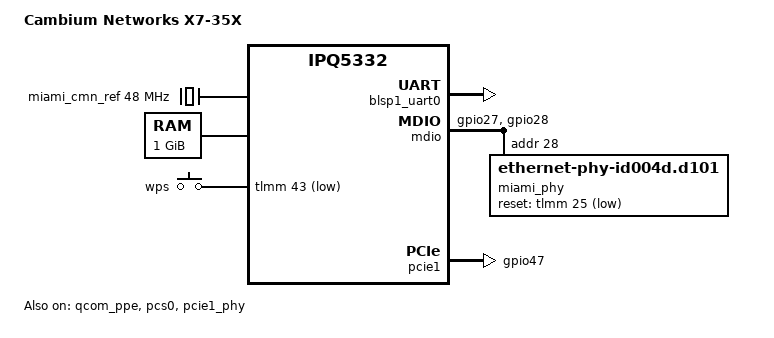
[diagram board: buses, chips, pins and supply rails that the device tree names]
// SPDX-License-Identifier: (GPL-2.0-only OR BSD-2-Clause)
/dts-v1/;

/*
 * Cambium Networks X7-35X (Miami family), recovery (RAM) tree: every flash
 * partition is read-only. The persistent trees include this one and unlock
 * only their own firmware bank(s) and the U-Boot environment.
 */

/* The extra firmware reservation of the OEM device tree. */
/memreserve/ 0x484ef000 0xe000;

#include <arm64/qcom/ipq5332.dtsi>
#include <dt-bindings/gpio/gpio.h>
#include <dt-bindings/input/input.h>
#include <dt-bindings/clock/qcom,ipq5332-nsscc.h>
#include <dt-bindings/clock/qcom,ipq5332-cmn-pll.h>
#include "ipq5332-miami-wifi.dtsi"
#include "ipq5332-miami-flash.dtsi"

/ {
	model = "Cambium Networks X7-35X";
	compatible = "cambiumnetworks,x7-35x", "qcom,ipq5332";

	cambium-platform {
		compatible = "cambium-platform";
		board-sku = <44>;
	};

	aliases {
		serial0 = &blsp1_uart0;
		ethernet0 = &miami_lan;
	};

	chosen {
		stdout-path = "serial0:115200n8";
		bootargs = "console=ttyMSM0,115200n8";
	};

	clocks {
		miami_cmn_ref: miami-cmn-ref-clk {
			compatible = "fixed-clock";
			clock-frequency = <48000000>;
			#clock-cells = <0>;
		};
	};

	soc@0 {
		miami_cmn_pll: clock-controller@9b000 {
			compatible = "qcom,ipq5332-cmn-pll";
			reg = <0x9b000 0x800>;
			clocks = <&miami_cmn_ref>,
				 <&gcc GCC_CMN_12GPLL_AHB_CLK>,
				 <&gcc GCC_CMN_12GPLL_SYS_CLK>;
			clock-names = "ref", "ahb", "sys";
			#clock-cells = <1>;
			assigned-clocks = <&miami_cmn_pll IPQ5332_CMN_PLL_CLK>;
			assigned-clock-rates-u64 = /bits/ 64 <6000000000>;
		};
	};

	memory@40000000 {
		reg = <0 0x40000000 0 0x40000000>;
	};

	/* ipq5332.dtsi already reserves the bootloader, SBL, TZ and SMEM. */
	reserved-memory {
		tzapp@49b00000 {
			reg = <0 0x49b00000 0 0x600000>;
			no-map;
		};
		wcss@4a900000 {
			reg = <0 0x4a900000 0 0x2300000>;
			no-map;
		};
		miami_m3_dump: m3-dump@4cc00000 {
			reg = <0 0x4cc00000 0 0x100000>;
			no-map;
		};
		q6-etr-dump@4cd00000 {
			reg = <0 0x4cd00000 0 0x100000>;
			no-map;
		};
		miami_q6_caldb: q6-caldb@4ce00000 {
			reg = <0 0x4ce00000 0 0x500000>;
			no-map;
		};
		miami_mlo_mem: mlo@4db00000 {
			reg = <0 0x4db00000 0 0x1100000>;
			no-map;
		};
		qcn9224@51e00000 {
			reg = <0 0x51e00000 0 0x3200000>;
			no-map;
		};
		/* The OEM firmware allocates this pool at the top of 1 GiB. */
		oem-dma@7f700000 {
			reg = <0 0x7f700000 0 0x900000>;
			no-map;
		};
	};

	keys {
		compatible = "gpio-keys";
		pinctrl-0 = <&miami_button_pins>;
		pinctrl-names = "default";
		button-wps {
			label = "wps";
			linux,code = <KEY_WPS_BUTTON>;
			gpios = <&tlmm 43 GPIO_ACTIVE_LOW>;
			debounce-interval = <60>;
		};
	};
};

&blsp1_uart0 {
	pinctrl-0 = <&serial_0_pins>;
	pinctrl-names = "default";
	status = "okay";
};

&sleep_clk {
	clock-frequency = <32000>;
};

&xo_board {
	clock-frequency = <24000000>;
};

&tlmm {
	miami_mdio_pins: miami-mdio-state {
		mdc {
			pins = "gpio27";
			function = "mdc1";
			drive-strength = <8>;
			bias-disable;
		};
		mdio {
			pins = "gpio28";
			function = "mdio1";
			drive-strength = <8>;
			bias-pull-up;
		};
	};
	miami_button_pins: miami-button-state {
		pins = "gpio43";
		function = "gpio";
		drive-strength = <8>;
		bias-pull-up;
	};
	miami_pcie1_perst: miami-pcie1-perst-state {
		pins = "gpio47";
		function = "gpio";
		drive-strength = <8>;
		bias-pull-up;
	};
};

&mdio {
	/* As the OEM qca_mdio_probe does: enable UNIPHY0 AHB/SYS, set UNIPHY0
	 * +0x610 bit 0 (the PHY's 50 MHz reference), wait 100 ms, then pulse
	 * the PHY reset 100 ms/100 ms.
	 */
	reg = <0x90000 0x64>, <0x7a00610 0x4>;
	clocks = <&gcc GCC_MDIO_AHB_CLK>,
		 <&gcc GCC_UNIPHY0_AHB_CLK>,
		 <&gcc GCC_UNIPHY0_SYS_CLK>;
	clock-names = "gcc_mdio_ahb_clk", "uniphy0_ahb", "uniphy0_sys";
	pinctrl-0 = <&miami_mdio_pins>;
	pinctrl-names = "default";
	status = "okay";

	miami_phy: ethernet-phy@1c {
		compatible = "ethernet-phy-id004d.d101";
		reg = <0x1c>;
		/* QCA8081 switches to 2500BASE-X at 2.5 Gbit/s (not yet tested). */
		max-speed = <2500>;
		reset-gpios = <&tlmm 25 GPIO_ACTIVE_LOW>;
		/* Per-PHY reset runs after the bus hook enables the reference clock. */
		reset-assert-us = <100000>;
		reset-deassert-us = <100000>;
	};
};

/* Clock the NSS from the programmed CMN PLL, not from U-Boot's state. */
&nsscc {
	clocks = <&miami_cmn_pll IPQ5332_PPE_200MHZ_CLK>,
		 <&miami_cmn_pll IPQ5332_NSS_300MHZ_CLK>,
		 <&gcc GPLL0_OUT_AUX>,
		 <&pcs0 0>, <&pcs0 1>, <&pcs1 0>, <&pcs1 1>,
		 <&xo_board>,
		 <&gcc GCC_NSSCC_CLK>,
		 <&gcc GCC_NSSNOC_NSSCC_CLK>,
		 <&gcc GCC_NSSNOC_SNOC_CLK>,
		 <&gcc GCC_NSSNOC_SNOC_1_CLK>,
		 <&gcc GCC_SNOC_NSSNOC_CLK>,
		 <&gcc GCC_SNOC_NSSNOC_1_CLK>;
};

&qcom_ppe {
	/* The second port (an MHT switch on SGMII) is not supported yet. */
	status = "okay";
	ethernet-ports {
		#address-cells = <1>;
		#size-cells = <0>;
		miami_lan: port@1 {
			reg = <1>;
			label = "lan1";
			phy-mode = "sgmii";
			/* OEM UNIPHY0 MII_CTRL0=0x844: FORCE_MODE clear, i.e. Cisco
			 * SGMII in-band AN with the QCA8081; MII_STS0=0xd0.
			 */
			managed = "in-band-status";
			pcs-handle = <&pcs0_ch0>;
			phy-handle = <&miami_phy>;
			clocks = <&nsscc NSS_CC_PORT1_MAC_CLK>,
				 <&nsscc NSS_CC_PORT1_RX_CLK>,
				 <&nsscc NSS_CC_PORT1_TX_CLK>;
			clock-names = "mac", "rx", "tx";
			resets = <&nsscc NSS_CC_PORT1_MAC_CLK_ARES>,
				 <&nsscc NSS_CC_PORT1_RX_CLK_ARES>,
				 <&nsscc NSS_CC_PORT1_TX_CLK_ARES>;
			reset-names = "mac", "rx", "tx";
		};
	};
};

&pcs0 {
	status = "okay";
};

/* QCN9224 (5 and 6 GHz) on the two-lane PCIe1. */
&pcie1_phy {
	status = "okay";
};

&pcie1 {
	status = "okay";
	pinctrl-0 = <&miami_pcie1_perst>;
	pinctrl-names = "default";
	perst-gpios = <&tlmm 47 GPIO_ACTIVE_LOW>;
};

/* U-Boot supplies the unit MAC through the ethernet0 alias. */
